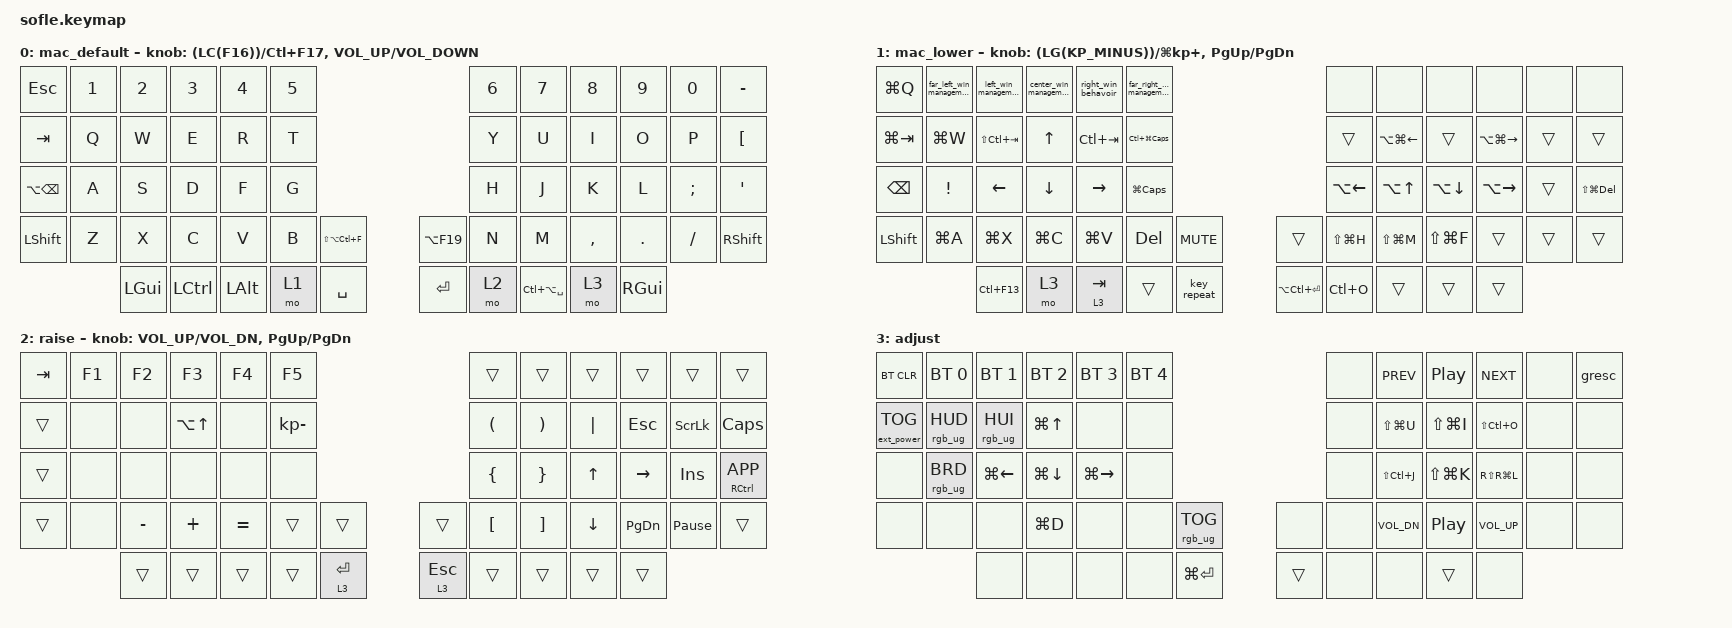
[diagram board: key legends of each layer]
/*
 * Copyright (c) 2020 The ZMK Contributors
 *
 * SPDX-License-Identifier: MIT
 */

#include <behaviors.dtsi>
#include <dt-bindings/zmk/bt.h>
#include <dt-bindings/zmk/ext_power.h>
#include <dt-bindings/zmk/keys.h>
#include <dt-bindings/zmk/rgb.h>

#define BASE 0
#define LOWER 1
#define RAISE 2
#define ADJUST 3

/ {
    // Activate ADJUST layer by pressing raise and lower

    conditional_layers { compatible = "zmk,conditional-layers"; };

    behaviors {
        Onlytap: Onlytap {
            compatible = "zmk,behavior-hold-tap";
            label = "ONLYTAP";
            bindings = <&none>, <&kp>;

            #binding-cells = <2>;
            tapping-term-ms = <100>;
            flavor = "tap-preferred";
        };

        center_win_management: center_win_management {
            compatible = "zmk,behavior-tap-dance";
            label = "CENTER_WIN_MANAGEMENT";
            #binding-cells = <0>;
            bindings = <&kp LA(LC(LG(NUMBER_3)))>, <&kp LA(LC(NUMBER_3))>;
        };

        left_win_management: left_win_management {
            compatible = "zmk,behavior-tap-dance";
            label = "LEFT_WIN_MANAGEMENT";
            #binding-cells = <0>;
            bindings = <&kp LC(LA(LG(NUMBER_2)))>, <&kp LA(LC(NUMBER_2))>;
        };

        right_win_behavoir: right_win_behavoir {
            compatible = "zmk,behavior-tap-dance";
            label = "RIGHT_WIN_BEHAVOIR";
            #binding-cells = <0>;
            bindings = <&kp LA(LC(LG(NUMBER_4)))>, <&kp LA(LC(NUMBER_4))>;
        };

        far_left_win_management: far_left_win_management {
            compatible = "zmk,behavior-tap-dance";
            label = "FAR_LEFT_WIN_MANAGEMENT";
            #binding-cells = <0>;
            bindings = <&kp LA(LC(LG(NUMBER_1)))>, <&kp LA(LC(NUMBER_1))>;
        };

        far_right_win_management: far_right_win_management {
            compatible = "zmk,behavior-tap-dance";
            label = "FAR_RIGHT_WIN_MANAGEMENT";
            #binding-cells = <0>;
            bindings = <&kp LA(LC(LG(NUMBER_5)))>, <&kp LA(LC(NUMBER_5))>;
        };

        HOLD_TAP_BEHAVOIR: HOLD_TAP_BEHAVOIR {
            compatible = "zmk,behavior-hold-tap";
            label = "HOLD_TAP_BEHAVOIR";
            bindings = <&to>, <&kp>;

            #binding-cells = <2>;
            flavor = "tap-preferred";
            tapping-term-ms = <2000>;
        };
    };

    keymap {
        compatible = "zmk,keymap";

        mac_main {
            label = "mac_default";
            bindings = <
&kp ESCAPE         &kp N1  &kp N2    &kp N3            &kp N4        &kp N5                                    &kp N6  &kp N7             &kp N8     &kp N9    &kp N0    &kp MINUS
&kp TAB            &kp Q   &kp W     &kp E             &kp R         &kp T                                     &kp Y   &kp U              &kp I      &kp O     &kp P     &kp LEFT_BRACKET
&kp LA(BACKSPACE)  &kp A   &kp S     &kp D             &kp F         &kp G                                     &kp H   &kp J              &kp K      &kp L     &kp SEMI  &kp SQT
&kp LSHFT          &kp Z   &kp X     &kp C             &kp V         &kp B   &kp LS(LA(LC(F)))    &kp LA(F19)  &kp N   &kp M              &kp COMMA  &kp DOT   &kp FSLH  &kp RSHFT
                           &kp LGUI  &kp LEFT_CONTROL  &kp LEFT_ALT  &mo 1   &kp SPACE            &kp RETURN   &mo 2   &kp LC(LA(SPACE))  &mo 3      &kp RGUI
            >;

            sensor-bindings =
                <&inc_dec_kp (LC(F16)) LC(F17)>,
                <&inc_dec_kp C_VOLUME_UP C_VOLUME_DOWN>;
        };

        mac_lower {
            label = "mac_lower";
            bindings = <
&kp LG(Q)       &far_left_win_management  &left_win_management  &center_win_management  &right_win_behavoir  &far_right_win_management                                    &none               &none             &none          &none              &none   &none
&kp LG(TAB)     &kp LG(W)                 &kp LS(LC(TAB))       &kp UP_ARROW            &kp LC(TAB)          &kp LC(LG(CAPSLOCK))                                         &trans              &kp LA(LG(LEFT))  &trans         &kp LA(LG(RIGHT))  &trans  &trans
&kp BACKSPACE   &kp EXCL                  &kp LEFT_ARROW        &kp DOWN                &kp RIGHT            &kp LG(CAPSLOCK)                                             &kp LA(LEFT_ARROW)  &kp LA(UP_ARROW)  &kp LA(DOWN)   &kp LA(RIGHT)      &trans  &kp LS(LG(DELETE))
&kp LEFT_SHIFT  &kp LG(A)                 &kp LG(X)             &kp LG(C)               &kp LG(V)            &kp DELETE                 &kp K_MUTE     &trans             &kp LS(LG(H))       &kp LS(LG(M))     &kp LS(LG(F))  &trans             &trans  &trans
                                          &kp LC(F13)           &mo 3                   &lt 3 TAB            &trans                     &key_repeat    &kp LA(LC(ENTER))  &kp LC(O)           &trans            &trans         &trans
            >;

            sensor-bindings =
                <&inc_dec_kp (LG(KP_MINUS)) LG(KP_PLUS)>,
                <&inc_dec_kp PG_UP PG_DN>;
        };

        raise_layer {
            label = "raise";

            // ------------------------------------------------------------------------------------------------------------
            // | BTCLR | BT1  | BT2  |  BT3  |  BT4  |  BT5 |                |      |      |       |      |       |       |
            // |       | INS  | PSCR | GUI   |       |      |                | PGUP |      |   ^   |      |       |       |
            // |       | ALT  | CTRL | SHIFT |       | CAPS |                | PGDN |   <- |   v   |  ->  |  DEL  | BKSPC |
            // |       | UNDO | CUT  | COPY  | PASTE |      |      |  |      |      |      |       |      |       |       |
            //                |      |       |       |      |      |  |      |      |      |       |      |

            bindings = <
&kp TAB  &kp F1  &kp F2     &kp F3            &kp F4     &kp F5                                  &trans                &trans                 &trans        &trans     &trans           &trans
&trans   &none   &none      &kp LA(UP_ARROW)  &none      &kp KP_MINUS                            &kp LEFT_PARENTHESIS  &kp RIGHT_PARENTHESIS  &kp PIPE      &kp ESC    &kp SLCK         &kp CAPS
&trans   &none   &none      &none             &none      &none                                   &kp LEFT_BRACE        &kp RIGHT_BRACE        &kp UP_ARROW  &kp RIGHT  &kp INS          &mt RIGHT_CONTROL K_APP
&trans   &none   &kp MINUS  &kp PLUS          &kp EQUAL  &trans        &trans         &trans     &kp LEFT_BRACKET      &kp RIGHT_BRACKET      &kp DOWN      &kp PG_DN  &kp PAUSE_BREAK  &trans
                 &trans     &trans            &trans     &trans        &lt 3 ENTER    &lt 3 ESC  &trans                &trans                 &trans        &trans
            >;

            sensor-bindings = <&inc_dec_kp C_VOL_UP C_VOL_DN &inc_dec_kp PG_UP PG_DN>;
        };

        adjust_layer {
            // ----------------------------------------------------------------------------------------------------------------------------
            // | BTCLR  |  BT1    |  BT2    |   BT3   |   BT4   |   BT5   |                  |      |      |       |      |       |       |
            // | EXTPWR | RGB_HUD | RGB_HUI | RGB_SAD | RGB_SAI | RGB_EFF |                  |      |      |       |      |       |       |
            // |        | RGB_BRD | RGB_BRI |         |         |         |                  |      |      |       |      |       |       |
            // |        |         |         |         |         |         | RGB_TOG | |      |      |      |       |      |       |       |
            //                    |         |         |         |         |         | |      |      |      |       |      |

            label = "adjust";
            bindings = <
&bt BT_CLR         &bt BT_SEL 0     &bt BT_SEL 1     &bt BT_SEL 2      &bt BT_SEL 3   &bt BT_SEL 4                             &none  &kp K_PREV     &kp C_PP          &kp K_NEXT     &none  &gresc
&ext_power EP_TOG  &rgb_ug RGB_HUD  &rgb_ug RGB_HUI  &kp LG(UP_ARROW)  &none          &none                                    &none  &kp LS(LG(U))  &kp LS(LG(I))     &kp LS(LC(O))  &none  &none
&none              &rgb_ug RGB_BRD  &kp LG(LEFT)     &kp LG(DOWN)      &kp LG(RIGHT)  &none                                    &none  &kp LS(LC(J))  &kp LS(LG(K))     &kp RS(RG(L))  &none  &none
&none              &none            &none            &kp LG(D)         &none          &none         &rgb_ug RGB_TOG    &none   &none  &kp C_VOL_DN   &kp C_PLAY_PAUSE  &kp C_VOL_UP   &none  &none
                                    &none            &none             &none          &none         &kp LG(ENTER)      &trans  &none  &none          &trans            &none
            >;
        };
    };
};
